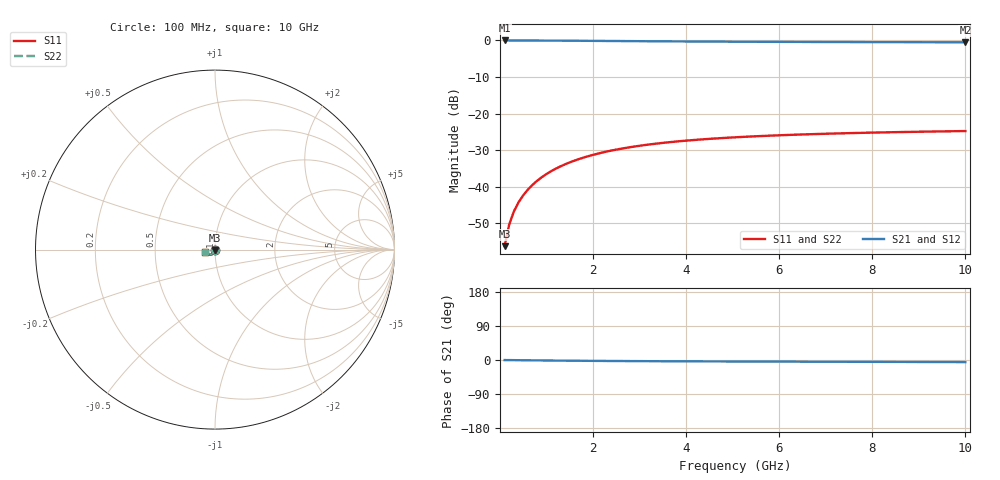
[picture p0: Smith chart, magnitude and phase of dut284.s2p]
! Touchstone file exported from HFSS 2024.1.0
!  File:  C:/UserFiles/LocalFiles/RDL_TSV_Batchsim/temp_TSV1_284_1779393532.aedt
!  Generated:  04:05:10 AM May 22, 2026
!  Design:  TSV1
!  Project:  temp_TSV1_284_1779393532
!  Setup:  Setup1
!  Solution:  Sweep
! Variables:
!  dtsv = 11.17um
!  hbump = 3um
!  htsv = 86.93um
!  lrdl = 252.1521522um
!  p = 40
!  p1 = 44.1um
!  t = 500um
!  trdl = 3um
!  wrdl = 24.89489489um
# GHz S MA R 50.000000
! Terminal data exported
! Port[1] = TSV22_T1
! Port[2] = TSV22_T2
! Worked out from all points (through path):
!   100 points, 100 MHz to 10 GHz, reference 50 ohm
!   highest |S21| = 0.00 dB at 100 MHz (marker M1); lowest = -0.5 dB at 10 GHz (marker M2)
!   lowest |S11| = -56.3 dB at 100 MHz (marker M3), VSWR 1.00, Z = 50 - j0.153 ohm
!   |S11| at or under -10 dB: start of sweep to end of sweep
!   |S22| runs from -56.3 to -24.8 dB; largest |S21 - S12| = 3.3e-15
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0.1  0.001527 -86.9  0.9998 -0.1  0.9998 -0.1  0.001527 -86.9
! Gamma 0 0 0 0
! Port Impedance 50 0 50 0
0.2  0.003048 -90.6  0.9997 -0.3  0.9997 -0.3  0.003048 -90.6
0.3  0.00457 -92.9  0.9995 -0.4  0.9995 -0.4  0.00457 -92.9
0.4  0.006087 -94.8  0.9991 -0.5  0.9991 -0.5  0.006087 -94.8
0.5  0.007595 -96.6  0.9988 -0.7  0.9988 -0.7  0.007595 -96.6
0.6  0.009089 -98.3  0.9983 -0.8  0.9983 -0.8  0.009089 -98.3
0.7  0.01056 -99.9  0.9978 -0.9  0.9978 -0.9  0.01056 -99.9
0.8  0.01202 -101.5  0.9972 -1.0  0.9972 -1.0  0.01202 -101.5
0.9  0.01345 -103.1  0.9966 -1.2  0.9966 -1.2  0.01345 -103.1
1.1  0.01623 -106.2  0.9951 -1.4  0.9951 -1.4  0.01623 -106.2
1.4  0.02018 -110.6  0.9926 -1.7  0.9926 -1.7  0.02018 -110.6
1.6  0.02264 -113.3  0.9907 -1.9  0.9907 -1.9  0.02264 -113.3
1.8  0.02497 -116.0  0.9888 -2.1  0.9888 -2.1  0.02497 -116.0
2.1  0.0282 -119.7  0.9858 -2.4  0.9858 -2.4  0.0282 -119.7
2.5  0.03205 -124.3  0.9818 -2.7  0.9818 -2.7  0.03205 -124.3
2.9  0.0354 -128.5  0.978 -2.9  0.978 -2.9  0.0354 -128.5
3.4  0.03897 -133.1  0.9734 -3.2  0.9734 -3.2  0.03897 -133.1
4.2  0.04353 -139.5  0.967 -3.6  0.967 -3.6  0.04353 -139.5
5.1  0.0474 -145.4  0.9611 -3.9  0.9611 -3.9  0.0474 -145.4
6.7  0.05214 -153.6  0.9533 -4.5  0.9533 -4.5  0.05214 -153.6
8.4  0.0554 -160.2  0.9476 -5.0  0.9476 -5.0  0.0554 -160.2
10  0.0575 -165.2  0.9439 -5.5  0.9439 -5.5  0.0575 -165.2
